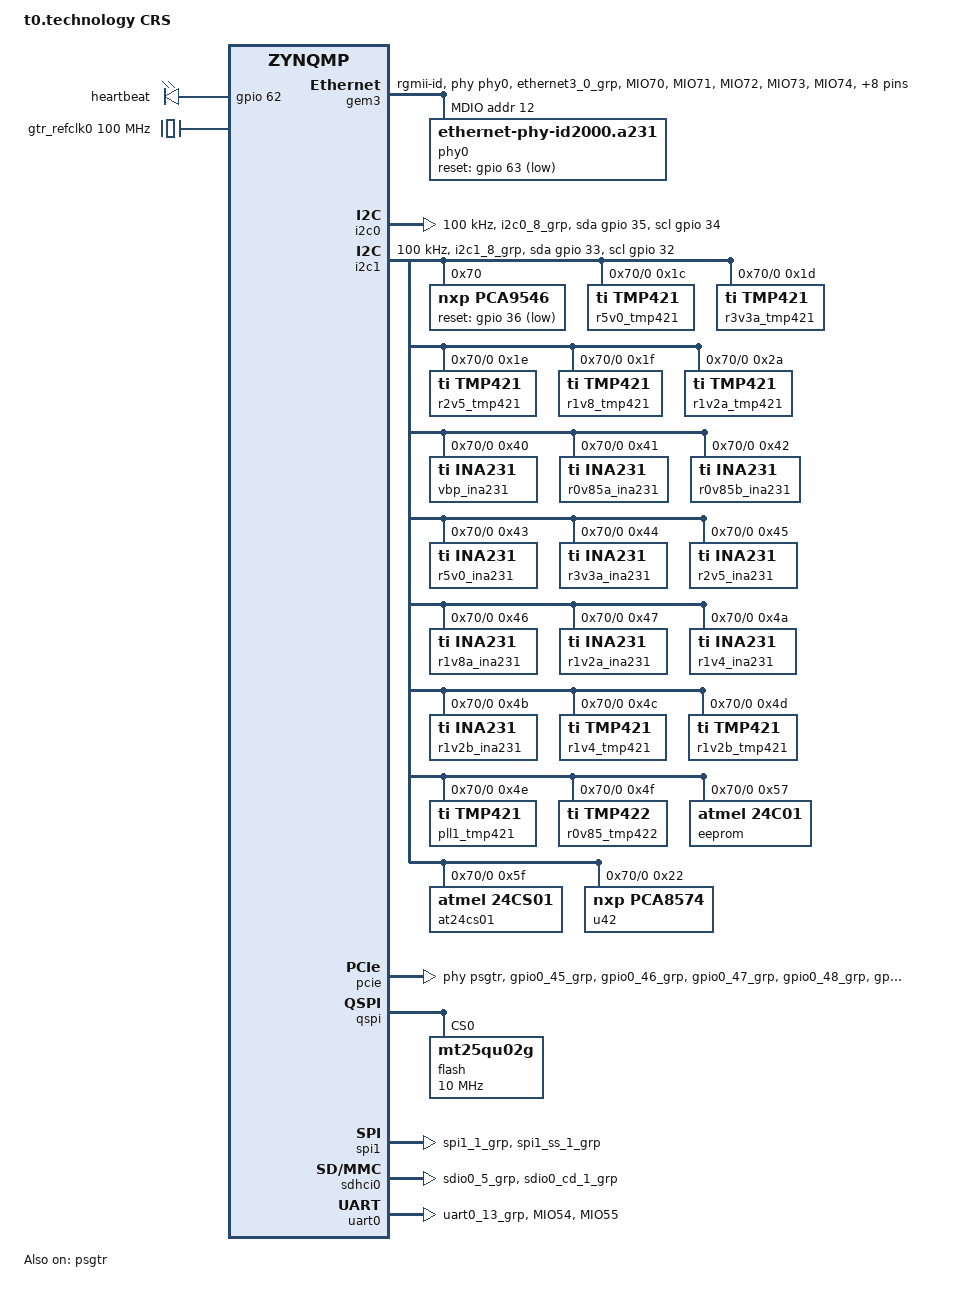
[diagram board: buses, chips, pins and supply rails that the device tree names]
// SPDX-License-Identifier: GPL-2.0+
/*
 * dtsi file for t0.technology CRS rev1+
 *
 * (C) Copyright 2022-2025 t0.technology
 *
 * Graeme Smecher <gsmecher@t0.technology>
 */

/* documentation: https://github.com/Xilinx/system-device-tree-xlnx */

#include "include/dt-bindings/input/input.h"
#include "include/dt-bindings/gpio/gpio.h"
#include "include/dt-bindings/pinctrl/pinctrl-zynqmp.h"
#include "include/dt-bindings/phy/phy.h"

/ {
	model = "t0.technology CRS";
	compatible = "t0,zynqmp-crs", "xlnx,zynqmp";

	aliases {
		ethernet0 = &gem3;
		i2c0 = &i2c0;
		i2c1 = &i2c1;
		mmc0 = &sdhci0;
		nvmem0 = &eeprom; /* this is how u-boot picks up the FRU */
		rtc0 = &rtc;
		serial0 = &uart0;
		spi0 = &qspi;
		spi1 = &spi1;
	};

	leds {
		compatible = "gpio-leds";
		heartbeat-led {
			label = "heartbeat";
			gpios = <&gpio 62 GPIO_ACTIVE_HIGH>;
			linux,default-trigger = "heartbeat";
		};
	};

	gtr_refclk0: psgtr_pcie_clock {
		compatible = "fixed-clock";
		#clock-cells = <0x00>;
		clock-frequency = <100000000>;
	};
};

&gem3 {
	status = "okay";
	phy-handle = <&phy0>;
	phy-mode = "rgmii-id";
	pinctrl-names = "default";
	pinctrl-0 = <&pinctrl_gem3_default>;
	mdio: mdio {
		#address-cells = <1>;
		#size-cells = <0>;
		phy0: ethernet-phy@c {
			#phy-cells = <1>;
			compatible = "ethernet-phy-id2000.a231";
			reg = <0xc>;
			ti,rx-internal-delay = <0x8>;
			ti,tx-internal-delay = <0xa>;
			ti,fifo-depth = <0x1>;
			ti,dp83867-rxctrl-strap-quirk;
			ti,clk-output-sel = <0x0>; /* DP83867_CLK_O_SEL_CHAN_A_RXCLK */
			reset-gpios = <&gpio 63 GPIO_ACTIVE_LOW>;
			reset-assert-us = <100>;
			reset-deassert-us = <280>;
		};
	};
};

&gpio {
	pinctrl-names = "default";
	pinctrl-0 = <&pinctrl_gpio_default>;
};

&i2c0 {
	clock-frequency = <100000>;
	pinctrl-names = "default", "gpio";
	pinctrl-0 = <&pinctrl_i2c0_default>;
	pinctrl-1 = <&pinctrl_i2c0_gpio>;
	scl-gpios = <&gpio 34 GPIO_ACTIVE_HIGH>;
	sda-gpios = <&gpio 35 GPIO_ACTIVE_HIGH>;
};

&i2c1 {
	clock-frequency = <100000>;
	pinctrl-names = "default", "gpio";
	pinctrl-0 = <&pinctrl_i2c1_default>;
	pinctrl-1 = <&pinctrl_i2c1_gpio>;
	scl-gpios = <&gpio 32 GPIO_ACTIVE_HIGH>;
	sda-gpios = <&gpio 33 GPIO_ACTIVE_HIGH>;

	pca9546@70 {
		compatible = "nxp,pca9546";
		reg = <0x70>;
		#address-cells = <1>;
		#size-cells = <0>;
		reset-gpios = <&gpio 36 GPIO_ACTIVE_LOW>;

		/* The I2C bus is quite long and includes two off-board
		* connectors (OLED, P11). Don't connect all these bus segments
		* together by default. */
		i2c-mux-idle-disconnect;

		i2c@0 {
			reg = <0>;
			#address-cells = <1>;
			#size-cells = <0>;

			r5v0_tmp421@1c	{ compatible = "ti,tmp421"; reg = <0x1c>; channel@0 { reg = <0x0>; label = "r5v0"; }; };
			r3v3a_tmp421@1d	{ compatible = "ti,tmp421"; reg = <0x1d>; channel@0 { reg = <0x0>; label = "r3v3a"; }; };
			r2v5_tmp421@1e	{ compatible = "ti,tmp421"; reg = <0x1e>; channel@0 { reg = <0x0>; label = "r2v5"; }; };
			r1v8_tmp421@1f	{ compatible = "ti,tmp421"; reg = <0x1f>; channel@0 { reg = <0x0>; label = "r1v8"; }; };

			r1v2a_tmp421@2a	{ compatible = "ti,tmp421"; reg = <0x2a>; channel@0 { reg = <0x0>; label = "r1v2a"; }; };

			vbp_ina231@40	{ compatible = "ti,ina231"; reg = <0x40>; shunt-resistor = <3900>; }; /* calibrated using SN006 */
			r0v85a_ina231@41 { compatible = "ti,ina231"; reg = <0x41>; shunt-resistor = <20000>; };
			r0v85b_ina231@42 { compatible = "ti,ina231"; reg = <0x42>; shunt-resistor = <20000>; };
			r5v0_ina231@43	{ compatible = "ti,ina231"; reg = <0x43>; shunt-resistor = <20000>; };
			r3v3a_ina231@44	{ compatible = "ti,ina231"; reg = <0x44>; shunt-resistor = <20000>; };
			r2v5_ina231@45	{ compatible = "ti,ina231"; reg = <0x45>; shunt-resistor = <20000>; };
			r1v8a_ina231@46	{ compatible = "ti,ina231"; reg = <0x46>; shunt-resistor = <20000>; };
			r1v2a_ina231@47	{ compatible = "ti,ina231"; reg = <0x47>; shunt-resistor = <20000>; };

			r1v4_ina231@4a	{ compatible = "ti,ina231"; reg = <0x4a>; shunt-resistor = <20000>; };
			r1v2b_ina231@4b	{ compatible = "ti,ina231"; reg = <0x4b>; shunt-resistor = <20000>; };
			r1v4_tmp421@4c	{ compatible = "ti,tmp421"; reg = <0x4c>; channel@0 { reg = <0x0>; label = "r1v4"; }; };
			r1v2b_tmp421@4d	{ compatible = "ti,tmp421"; reg = <0x4d>; channel@0 { reg = <0x0>; label = "r1v2b"; }; };

			/* rev3 adds PLL1 thermometry */
			pll1_tmp421@4e	{ compatible = "ti,tmp421"; reg = <0x4e>; channel@0 { reg = <0x0>; label = "pll1"; }; };

			r0v85_tmp422@4f	{
				compatible = "ti,tmp422";
				reg = <0x4f>;
				channel@0 { reg = <0x0>; label = "r0v85a"; };
				channel@1 { reg = <0x1>; label = "r0v85b"; };
			};

			/* Serial + EEPROM */
			eeprom: at24c01@57 {
				compatible = "atmel,24c01";
				reg = <0x57>;
			};
			at24cs01@5f { compatible = "atmel,24cs01"; reg = <0x5f>; };

			/* PS-attached 7-segment LED */
			u42: pca8574@22 {
				compatible = "nxp,pca8574";
				reg = <0x22>;
				gpio-controller;
				#gpio-cells = <1>;
				gpio-line-names = "LED7_G", "LED7_E", "LED7_F", "LED7_D", "LED7_C", "LED7_A", "LED7_DP", "LED7_B";
			};

			/*ssd1306: oled@3c {
				compatible = "solomon,ssd1306fb-i2c";
				reg = <0x3c>;
				solomon,height = <32>;
				solomon,width = <128>;
				solomon,page-offset = <0>;
				solomon,com-invdir;
				solomon,com-seq;
			};*/
		};
	};
};

&pinctrl0 {
	status = "okay";
	pinctrl_i2c0_default: i2c0-default {
		mux {
			groups = "i2c0_8_grp";
			function = "i2c0";
		};

		conf {
			groups = "i2c0_8_grp";
			bias-pull-up;
			slew-rate = <SLEW_RATE_SLOW>;
			power-source = <IO_STANDARD_LVCMOS33>;
		};
	};

	pinctrl_i2c0_gpio: i2c0-gpio {
		mux {
			groups = "gpio0_34_grp", "gpio0_35_grp";
			function = "gpio0";
		};

		conf {
			groups = "gpio0_34_grp", "gpio0_35_grp";
			slew-rate = <SLEW_RATE_SLOW>;
			power-source = <IO_STANDARD_LVCMOS33>;
		};
	};

	pinctrl_i2c1_default: i2c1-default {
		mux {
			groups = "i2c1_8_grp";
			function = "i2c1";
		};

		conf {
			groups = "i2c1_8_grp";
			bias-pull-up;
			slew-rate = <SLEW_RATE_SLOW>;
			power-source = <IO_STANDARD_LVCMOS33>;
		};
	};

	pinctrl_i2c1_gpio: i2c1-gpio {
		mux {
			groups = "gpio0_32_grp", "gpio0_33_grp";
			function = "gpio0";
		};

		conf {
			groups = "gpio0_32_grp", "gpio0_33_grp";
			slew-rate = <SLEW_RATE_SLOW>;
			power-source = <IO_STANDARD_LVCMOS33>;
		};
	};

	pinctrl_uart0_default: uart0-default {
		mux {
			groups = "uart0_13_grp";
			function = "uart0";
		};

		conf {
			groups = "uart0_13_grp";
			slew-rate = <SLEW_RATE_SLOW>;
			power-source = <IO_STANDARD_LVCMOS33>;
		};

		conf-rx {
			pins = "MIO54";
			bias-high-impedance;
		};

		conf-tx {
			pins = "MIO55";
			bias-disable;
		};
	};

	pinctrl_spi1_default: spi1-default {
		mux {
			groups = "spi1_1_grp";
			function = "spi1";
		};

		conf {
			groups = "spi1_1_grp";
			bias-disable;
			slew-rate = <SLEW_RATE_SLOW>;
			power-source = <IO_STANDARD_LVCMOS18>;
		};

		mux-cs {
			groups = "spi1_ss_1_grp";
			function = "spi1_ss";
		};

		conf-cs {
			groups = "spi1_ss_1_grp";
			bias-disable;
		};
	};

	pinctrl_gem3_default: gem3-default {
		mux {
			function = "ethernet3";
			groups = "ethernet3_0_grp";
		};

		conf {
			groups = "ethernet3_0_grp";
			slew-rate = <SLEW_RATE_SLOW>;
			power-source = <IO_STANDARD_LVCMOS33>;
		};

		conf-rx {
			pins = "MIO70", "MIO71", "MIO72", "MIO73", "MIO74", "MIO75";
			bias-high-impedance;
			low-power-disable;
		};

		conf-tx {
			pins = "MIO64", "MIO65", "MIO66", "MIO67", "MIO68", "MIO69";
			bias-disable;
			low-power-enable;
		};

		mux-mdio {
			function = "mdio3";
			groups = "mdio3_0_grp";
		};

		conf-mdio {
			groups = "mdio3_0_grp";
			slew-rate = <SLEW_RATE_SLOW>;
			power-source = <IO_STANDARD_LVCMOS33>;
			bias-disable;
		};
	};

	pinctrl_sdhci0_default: sdhci0-default {
		mux {
			/* sdio0_5_grp = 4-bit SDIO, placement 1
			 * (sdio0_1_grp is 8-bit and claims MIO 45-50
			 * which are PCIe sideband on this board) */
			groups = "sdio0_5_grp";
			function = "sdio0";
		};

		conf {
			groups = "sdio0_5_grp";
			slew-rate = <SLEW_RATE_SLOW>;
			power-source = <IO_STANDARD_LVCMOS33>;
			bias-disable;
		};

		mux-cd {
			groups = "sdio0_cd_1_grp";
			function = "sdio0_cd";
		};

		conf-cd {
			groups = "sdio0_cd_1_grp";
			bias-high-impedance;
			bias-pull-up;
			slew-rate = <SLEW_RATE_SLOW>;
			power-source = <IO_STANDARD_LVCMOS33>;
		};
	};

	pinctrl_gpio_default: gpio-default {
	};

	pinctrl_pcie_default: pcie-default {
		/* Keep PCIe sideband signals (MIO 45-50) as GPIO.
		 * Without this, the PMUFW sets L1_SEL=1 when the PCIe
		 * power domain initializes, muxing these pins to an
		 * undefined function that can deassert CLKREQ#. */
		mux {
			groups = "gpio0_45_grp", "gpio0_46_grp",
				 "gpio0_47_grp", "gpio0_48_grp",
				 "gpio0_49_grp", "gpio0_50_grp";
			function = "gpio0";
		};
	};
};

&pcie {
	status = "okay";
	pinctrl-names = "default";
	pinctrl-0 = <&pinctrl_pcie_default>;
	phys = <&psgtr 0 PHY_TYPE_PCIE 0 0>,
	       <&psgtr 1 PHY_TYPE_PCIE 1 0>,
	       <&psgtr 2 PHY_TYPE_PCIE 2 0>,
	       <&psgtr 3 PHY_TYPE_PCIE 3 0>;
};

&psgtr {
	status = "okay";
	/* All 4 lanes are PCIe, sharing ref0 */
	clocks = <&gtr_refclk0>;
	clock-names = "ref0";
};

&qspi {
	status = "okay";
	/*is-dual = <1>;
	num-cs = <2>;*/
	flash@0 {
		/* u-boot has no vendor prefix; Linux uses "st" */
		compatible = "mt25qu02g", "jedec,spi-nor";
		#address-cells = <1>;
		#size-cells = <1>;
		reg = <0x0>;
		spi-tx-bus-width = <4>;
		spi-rx-bus-width = <4>;
		spi-max-frequency = <10000000>; /* 10 MHz */
		broken-flash-reset;
	};
};

/* HMC7044 hosted at SPI0 on rev0, but SPI1 on rev1. */
spi_hmc7044: &spi1 {
	status = "okay";
	num-cs = <1>;
	pinctrl-names = "default";
	pinctrl-0 = <&pinctrl_spi1_default>;
};

&sata {
	status = "disabled";
};

/* SD1 with level shifter */
&sdhci0 {
	no-1-8-v;
	disable-wp;
	pinctrl-names = "default";
	pinctrl-0 = <&pinctrl_sdhci0_default>;
	xlnx,mio-bank = <1>;
};

&uart0 {
	pinctrl-names = "default";
	pinctrl-0 = <&pinctrl_uart0_default>;
};
